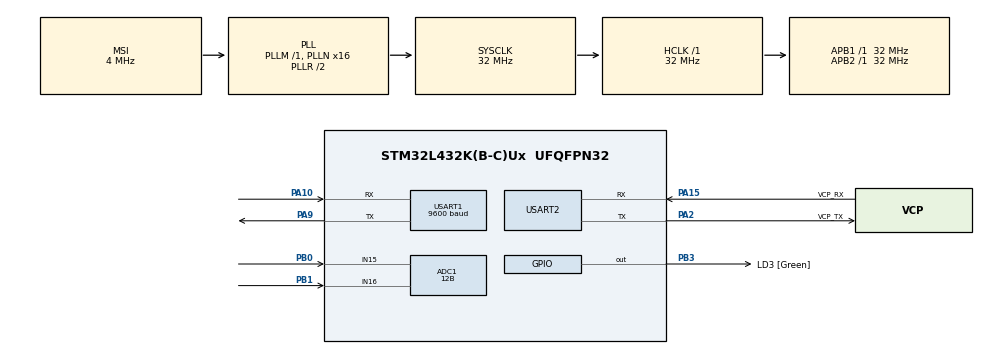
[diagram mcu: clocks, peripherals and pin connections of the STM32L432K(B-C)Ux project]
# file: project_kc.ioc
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ADC1.Channel-8\#ChannelRegularConversion=ADC_CHANNEL_15
ADC1.ClockPrescaler=ADC_CLOCK_ASYNC_DIV1
ADC1.ContinuousConvMode=DISABLE
ADC1.DMAContinuousRequests=DISABLE
ADC1.DataAlign=ADC_DATAALIGN_RIGHT
ADC1.DiscontinuousConvMode=DISABLE
ADC1.EOCSelection=ADC_EOC_SINGLE_CONV
ADC1.EnableAnalogWatchDog1=false
ADC1.EnableAnalogWatchDog2=false
ADC1.EnableAnalogWatchDog3=false
ADC1.EnableInjectedConversion=DISABLE
ADC1.EnableRegularConversion=ENABLE
ADC1.ExternalTrigConv=ADC_SOFTWARE_START
ADC1.ExternalTrigConvEdge=ADC_EXTERNALTRIGCONVEDGE_NONE
ADC1.LowPowerAutoWait=DISABLE
ADC1.NbrOfConversion=1
ADC1.NbrOfConversionFlag=1
ADC1.OffsetNumber-8\#ChannelRegularConversion=ADC_OFFSET_NONE
ADC1.Overrun=ADC_OVR_DATA_PRESERVED
ADC1.OversamplingMode=DISABLE
ADC1.Rank-8\#ChannelRegularConversion=1
ADC1.Resolution=ADC_RESOLUTION_12B
ADC1.SamplingTime-8\#ChannelRegularConversion=ADC_SAMPLETIME_2CYCLES_5
ADC1.ScanConvMode=ADC_SCAN_DISABLE
ADC1.SingleDiff-8\#ChannelRegularConversion=ADC_DIFFERENTIAL_ENDED
ADC1.master=1
Mcu.Family=STM32L4
Mcu.Name=STM32L432K(B-C)Ux
Mcu.Package=UFQFPN32
NVIC.PriorityGroup=NVIC_PRIORITYGROUP_4
PA0.GPIO_Label=MCO [High speed clock in]
PA0.Mode=HSE-External-Clock-Source-for-LittleOrca
PA0.Signal=RCC_CK_IN
PA10.GPIO_PuPd=GPIO_PULLUP
PA10.Mode=Asynchronous
PA10.Signal=USART1_RX
PA13\ (JTMS-SWDIO).GPIO_Label=SWDIO
PA13\ (JTMS-SWDIO).Mode=Serial_Wire
PA13\ (JTMS-SWDIO).Signal=SYS_JTMS-SWDIO
PA14\ (JTCK-SWCLK).GPIO_Label=SWCLK
PA14\ (JTCK-SWCLK).Mode=Serial_Wire
PA14\ (JTCK-SWCLK).Signal=SYS_JTCK-SWCLK
PA15\ (JTDI).GPIO_Label=VCP_RX
PA15\ (JTDI).Mode=Asynchronous
PA15\ (JTDI).Signal=USART2_RX
PA2.GPIO_Label=VCP_TX
PA2.Mode=Asynchronous
PA2.Signal=USART2_TX
PA9.GPIO_PuPd=GPIO_PULLUP
PA9.Mode=Asynchronous
PA9.Signal=USART1_TX
PB0.Signal=ADCx_IN15
PB1.Signal=ADCx_IN16
PB3\ (JTDO-TRACESWO).GPIO_Label=LD3 [Green]
PB3\ (JTDO-TRACESWO).Signal=GPIO_Output
PC14-OSC32_IN\ (PC14).Mode=LSE-External-Oscillator
PC14-OSC32_IN\ (PC14).Signal=RCC_OSC32_IN
PC15-OSC32_OUT\ (PC15).Mode=LSE-External-Oscillator
PC15-OSC32_OUT\ (PC15).Signal=RCC_OSC32_OUT
ProjectManager.HeapSize=0x200
ProjectManager.StackSize=0x400
ProjectManager.TargetToolchain=TrueSTUDIO
RCC.ADCFreq_Value=32000000
RCC.AHBFreq_Value=32000000
RCC.APB1Freq_Value=32000000
RCC.APB1TimFreq_Value=32000000
RCC.APB2Freq_Value=32000000
RCC.APB2TimFreq_Value=32000000
RCC.CortexFreq_Value=32000000
RCC.HCLKFreq_Value=32000000
RCC.HSE_VALUE=8000000
RCC.HSI16_VALUE=16000000
RCC.HSI48_VALUE=48000000
RCC.HSI_VALUE=16000000
RCC.MSI_VALUE=4000000
RCC.PLLMUL=RCC_PLLMUL_4
RCC.PLLN=16
RCC.PLLSAI1N=16
RCC.SYSCLKFreq_VALUE=32000000
RCC.SYSCLKSource=RCC_SYSCLKSOURCE_PLLCLK
RCC.USBFreq_Value=32000000
RCC.VCOOutputFreq_Value=64000000
SH.ADCx_IN15.0=ADC1_IN15,IN15-Differential
SH.ADCx_IN16.0=ADC1_IN16,IN15-Differential
USART1.BaudRate=9600
USART1.VirtualMode-Asynchronous=VM_ASYNC
USART1.WordLength=WORDLENGTH_8B
USART2.VirtualMode-Asynchronous=VM_ASYNC
USART2.WordLength=WORDLENGTH_8B
board=NUCLEO-L432KC

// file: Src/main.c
/**
 ******************************************************************************
 * @file           : main.c
 * @brief          : Main program body
 ******************************************************************************
 ** This notice applies to any and all portions of this file
 * that are not between comment pairs USER CODE BEGIN and
 * USER CODE END. Other portions of this file, whether
 * inserted by the user or by software development tools
 * are owned by their respective copyright owners.
 *
 * COPYRIGHT(c) 2019 STMicroelectronics
 *
 * Redistribution and use in source and binary forms, with or without modification,
 * are permitted provided that the following conditions are met:
 *   1. Redistributions of source code must retain the above copyright notice,
 *      this list of conditions and the following disclaimer.
 *   2. Redistributions in binary form must reproduce the above copyright notice,
 *      this list of conditions and the following disclaimer in the documentation
 *      and/or other materials provided with the distribution.
 *   3. Neither the name of STMicroelectronics nor the names of its contributors
 *      may be used to endorse or promote products derived from this software
 *      without specific prior written permission.
 *
 * THIS SOFTWARE IS PROVIDED BY THE COPYRIGHT HOLDERS AND CONTRIBUTORS "AS IS"
 * AND ANY EXPRESS OR IMPLIED WARRANTIES, INCLUDING, BUT NOT LIMITED TO, THE
 * IMPLIED WARRANTIES OF MERCHANTABILITY AND FITNESS FOR A PARTICULAR PURPOSE ARE
 * DISCLAIMED. IN NO EVENT SHALL THE COPYRIGHT HOLDER OR CONTRIBUTORS BE LIABLE
 * FOR ANY DIRECT, INDIRECT, INCIDENTAL, SPECIAL, EXEMPLARY, OR CONSEQUENTIAL
 * DAMAGES (INCLUDING, BUT NOT LIMITED TO, PROCUREMENT OF SUBSTITUTE GOODS OR
 * SERVICES; LOSS OF USE, DATA, OR PROFITS; OR BUSINESS INTERRUPTION) HOWEVER
 * CAUSED AND ON ANY THEORY OF LIABILITY, WHETHER IN CONTRACT, STRICT LIABILITY,
 * OR TORT (INCLUDING NEGLIGENCE OR OTHERWISE) ARISING IN ANY WAY OUT OF THE USE
 * OF THIS SOFTWARE, EVEN IF ADVISED OF THE POSSIBILITY OF SUCH DAMAGE.
 *
 ******************************************************************************
 */
#include "main.h"
#include "stm32l4xx_hal.h"

/* USER CODE BEGIN Includes */
#include "string.h"
#include "stdlib.h"
#include "XBee.h"
/* USER CODE END Includes */

ADC_HandleTypeDef hadc1;

UART_HandleTypeDef huart1;
UART_HandleTypeDef huart2;

/* USER CODE BEGIN PV */
/* Private variables ---------------------------------------------------------*/
char* com_buf[100];
int com_len;
/* USER CODE END PV */

void SystemClock_Config(void);
static void MX_GPIO_Init(void);
static void MX_USART2_UART_Init(void);
static void MX_ADC1_Init(void);
static void MX_USART1_UART_Init(void);

/* USER CODE BEGIN PFP */
/* Private function prototypes -----------------------------------------------*/

/* USER CODE END PFP */

int main(void) {

	/* MCU Configuration----------------------------------------------------------*/

	/* Reset of all peripherals, Initializes the Flash interface and the Systick. */
	HAL_Init();

	/* Configure the system clock */
	SystemClock_Config();

	/* Initialize all configured peripherals */
	MX_GPIO_Init();
	MX_USART2_UART_Init();
	MX_ADC1_Init();
	MX_USART1_UART_Init();
	/* USER CODE BEGIN 2 */
	char buf[100] = "";
	init_XBee(&huart1);

	memset(com_buf, 0, 100);
	com_len = 0;

//	HAL_UART_Receive_IT(&huart1, com_buf + (com_len++), 1);

	HAL_UART_Transmit(&huart1, "+++", 3, 100);
	memset(buf, 0, 100);
	HAL_UART_Receive(&huart1, buf, 3, 5000);
	HAL_UART_Transmit(&huart2, buf, 3, 100);

	/* USER CODE END 2 */

	/* Infinite loop */
	while (1) {

		/* USER CODE BEGIN 3 */
		HAL_ADC_Start(&hadc1);
		HAL_ADC_PollForConversion(&hadc1, 1000);
		int value = HAL_ADC_GetValue(&hadc1);
		HAL_ADC_Stop(&hadc1);
		value = abs(value - 1988);
		sprintf(buf, "Value: %d\r\n", value);
		HAL_UART_Transmit(&huart2, (uint8_t*) buf, strlen(buf), 100);

		tx_req_XBee(1, 0xAB01, 0, buf);
		HAL_Delay(5000);
	}
	/* USER CODE END 3 */

}

void SystemClock_Config(void) {

	RCC_OscInitTypeDef RCC_OscInitStruct;
	RCC_ClkInitTypeDef RCC_ClkInitStruct;
	RCC_PeriphCLKInitTypeDef PeriphClkInit;

	/**Configure LSE Drive Capability
	 */
	HAL_PWR_EnableBkUpAccess();

	__HAL_RCC_LSEDRIVE_CONFIG(RCC_LSEDRIVE_LOW);

	/**Initializes the CPU, AHB and APB busses clocks
	 */
	RCC_OscInitStruct.OscillatorType = RCC_OSCILLATORTYPE_LSE
			| RCC_OSCILLATORTYPE_MSI;
	RCC_OscInitStruct.LSEState = RCC_LSE_ON;
	RCC_OscInitStruct.MSIState = RCC_MSI_ON;
	RCC_OscInitStruct.MSICalibrationValue = 0;
	RCC_OscInitStruct.MSIClockRange = RCC_MSIRANGE_6;
	RCC_OscInitStruct.PLL.PLLState = RCC_PLL_ON;
	RCC_OscInitStruct.PLL.PLLSource = RCC_PLLSOURCE_MSI;
	RCC_OscInitStruct.PLL.PLLM = 1;
	RCC_OscInitStruct.PLL.PLLN = 16;
	RCC_OscInitStruct.PLL.PLLP = RCC_PLLP_DIV7;
	RCC_OscInitStruct.PLL.PLLQ = RCC_PLLQ_DIV2;
	RCC_OscInitStruct.PLL.PLLR = RCC_PLLR_DIV2;
	if (HAL_RCC_OscConfig(&RCC_OscInitStruct) != HAL_OK) {
		_Error_Handler(__FILE__, __LINE__);
	}

	/**Initializes the CPU, AHB and APB busses clocks
	 */
	RCC_ClkInitStruct.ClockType = RCC_CLOCKTYPE_HCLK | RCC_CLOCKTYPE_SYSCLK
			| RCC_CLOCKTYPE_PCLK1 | RCC_CLOCKTYPE_PCLK2;
	RCC_ClkInitStruct.SYSCLKSource = RCC_SYSCLKSOURCE_PLLCLK;
	RCC_ClkInitStruct.AHBCLKDivider = RCC_SYSCLK_DIV1;
	RCC_ClkInitStruct.APB1CLKDivider = RCC_HCLK_DIV1;
	RCC_ClkInitStruct.APB2CLKDivider = RCC_HCLK_DIV1;

	if (HAL_RCC_ClockConfig(&RCC_ClkInitStruct, FLASH_LATENCY_1) != HAL_OK) {
		_Error_Handler(__FILE__, __LINE__);
	}

	PeriphClkInit.PeriphClockSelection = RCC_PERIPHCLK_USART1
			| RCC_PERIPHCLK_USART2 | RCC_PERIPHCLK_ADC;
	PeriphClkInit.Usart1ClockSelection = RCC_USART1CLKSOURCE_PCLK2;
	PeriphClkInit.Usart2ClockSelection = RCC_USART2CLKSOURCE_PCLK1;
	PeriphClkInit.AdcClockSelection = RCC_ADCCLKSOURCE_PLLSAI1;
	PeriphClkInit.PLLSAI1.PLLSAI1Source = RCC_PLLSOURCE_MSI;
	PeriphClkInit.PLLSAI1.PLLSAI1M = 1;
	PeriphClkInit.PLLSAI1.PLLSAI1N = 16;
	PeriphClkInit.PLLSAI1.PLLSAI1P = RCC_PLLP_DIV7;
	PeriphClkInit.PLLSAI1.PLLSAI1Q = RCC_PLLQ_DIV2;
	PeriphClkInit.PLLSAI1.PLLSAI1R = RCC_PLLR_DIV2;
	PeriphClkInit.PLLSAI1.PLLSAI1ClockOut = RCC_PLLSAI1_ADC1CLK;
	if (HAL_RCCEx_PeriphCLKConfig(&PeriphClkInit) != HAL_OK) {
		_Error_Handler(__FILE__, __LINE__);
	}

	/**Configure the main internal regulator output voltage
	 */
	if (HAL_PWREx_ControlVoltageScaling(PWR_REGULATOR_VOLTAGE_SCALE1)
			!= HAL_OK) {
		_Error_Handler(__FILE__, __LINE__);
	}

	/**Configure the Systick interrupt time
	 */
	HAL_SYSTICK_Config(HAL_RCC_GetHCLKFreq() / 1000);

	/**Configure the Systick
	 */
	HAL_SYSTICK_CLKSourceConfig(SYSTICK_CLKSOURCE_HCLK);

	/**Enable MSI Auto calibration
	 */
	HAL_RCCEx_EnableMSIPLLMode();

	/* SysTick_IRQn interrupt configuration */
	HAL_NVIC_SetPriority(SysTick_IRQn, 0, 0);
}

/* ADC1 init function */
static void MX_ADC1_Init(void) {

	ADC_ChannelConfTypeDef sConfig;

	/**Common config
	 */
	hadc1.Instance = ADC1;
	hadc1.Init.ClockPrescaler = ADC_CLOCK_ASYNC_DIV1;
	hadc1.Init.Resolution = ADC_RESOLUTION_12B;
	hadc1.Init.DataAlign = ADC_DATAALIGN_RIGHT;
	hadc1.Init.ScanConvMode = ADC_SCAN_DISABLE;
	hadc1.Init.EOCSelection = ADC_EOC_SINGLE_CONV;
	hadc1.Init.LowPowerAutoWait = DISABLE;
	hadc1.Init.ContinuousConvMode = DISABLE;
	hadc1.Init.NbrOfConversion = 1;
	hadc1.Init.DiscontinuousConvMode = DISABLE;
	hadc1.Init.NbrOfDiscConversion = 1;
	hadc1.Init.ExternalTrigConv = ADC_SOFTWARE_START;
	hadc1.Init.ExternalTrigConvEdge = ADC_EXTERNALTRIGCONVEDGE_NONE;
	hadc1.Init.DMAContinuousRequests = DISABLE;
	hadc1.Init.Overrun = ADC_OVR_DATA_PRESERVED;
	hadc1.Init.OversamplingMode = DISABLE;
	if (HAL_ADC_Init(&hadc1) != HAL_OK) {
		_Error_Handler(__FILE__, __LINE__);
	}

	/**Configure Regular Channel
	 */
	sConfig.Channel = ADC_CHANNEL_15;
	sConfig.Rank = ADC_REGULAR_RANK_1;
	sConfig.SamplingTime = ADC_SAMPLETIME_2CYCLES_5;
	sConfig.SingleDiff = ADC_DIFFERENTIAL_ENDED;
	sConfig.OffsetNumber = ADC_OFFSET_NONE;
	sConfig.Offset = 0;
	if (HAL_ADC_ConfigChannel(&hadc1, &sConfig) != HAL_OK) {
		_Error_Handler(__FILE__, __LINE__);
	}

}

/* USART1 init function */
static void MX_USART1_UART_Init(void) {

	huart1.Instance = USART1;
	huart1.Init.BaudRate = 9600;
	huart1.Init.WordLength = UART_WORDLENGTH_8B;
	huart1.Init.StopBits = UART_STOPBITS_1;
	huart1.Init.Parity = UART_PARITY_NONE;
	huart1.Init.Mode = UART_MODE_TX_RX;
	huart1.Init.HwFlowCtl = UART_HWCONTROL_NONE;
	huart1.Init.OverSampling = UART_OVERSAMPLING_16;
	huart1.Init.OneBitSampling = UART_ONE_BIT_SAMPLE_DISABLE;
	huart1.AdvancedInit.AdvFeatureInit = UART_ADVFEATURE_NO_INIT;
	if (HAL_UART_Init(&huart1) != HAL_OK) {
		_Error_Handler(__FILE__, __LINE__);
	}

}

/* USART2 init function */
static void MX_USART2_UART_Init(void) {

	huart2.Instance = USART2;
	huart2.Init.BaudRate = 115200;
	huart2.Init.WordLength = UART_WORDLENGTH_8B;
	huart2.Init.StopBits = UART_STOPBITS_1;
	huart2.Init.Parity = UART_PARITY_NONE;
	huart2.Init.Mode = UART_MODE_TX_RX;
	huart2.Init.HwFlowCtl = UART_HWCONTROL_NONE;
	huart2.Init.OverSampling = UART_OVERSAMPLING_16;
	huart2.Init.OneBitSampling = UART_ONE_BIT_SAMPLE_DISABLE;
	huart2.AdvancedInit.AdvFeatureInit = UART_ADVFEATURE_NO_INIT;
	if (HAL_UART_Init(&huart2) != HAL_OK) {
		_Error_Handler(__FILE__, __LINE__);
	}

}

/** Configure pins as
 * Analog
 * Input
 * Output
 * EVENT_OUT
 * EXTI
 */
static void MX_GPIO_Init(void) {

	GPIO_InitTypeDef GPIO_InitStruct;

	/* GPIO Ports Clock Enable */
	__HAL_RCC_GPIOC_CLK_ENABLE()
	;
	__HAL_RCC_GPIOA_CLK_ENABLE()
	;
	__HAL_RCC_GPIOB_CLK_ENABLE()
	;

	/*Configure GPIO pin Output Level */
	HAL_GPIO_WritePin(LD3_GPIO_Port, LD3_Pin, GPIO_PIN_RESET);

	/*Configure GPIO pin : LD3_Pin */
	GPIO_InitStruct.Pin = LD3_Pin;
	GPIO_InitStruct.Mode = GPIO_MODE_OUTPUT_PP;
	GPIO_InitStruct.Pull = GPIO_NOPULL;
	GPIO_InitStruct.Speed = GPIO_SPEED_FREQ_LOW;
	HAL_GPIO_Init(LD3_GPIO_Port, &GPIO_InitStruct);

}

/* USER CODE BEGIN 4 */
void HAL_UART_RxCpltCallback(UART_HandleTypeDef *huart) {
	HAL_UART_Receive_IT(&huart1, com_buf + (com_len++), 1);
}
/* USER CODE END 4 */

void _Error_Handler(char *file, int line) {
	while (1) {
	}
}

/************************ (C) COPYRIGHT STMicroelectronics *****END OF FILE****/
